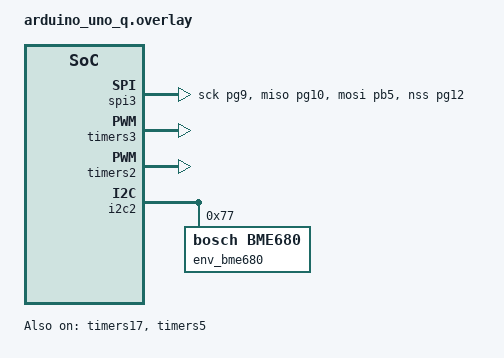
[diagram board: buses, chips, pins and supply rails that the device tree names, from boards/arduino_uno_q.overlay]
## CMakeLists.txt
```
# Copyright (c) 2026 Jim Wyatt
# SPDX-License-Identifier: MIT
cmake_minimum_required(VERSION 3.20.0)
# The BME680's I2C address, into the overlay's preprocessor (see `app env` in
# boards/arduino_uno_q.overlay): 0x77 unless the build says otherwise, with
#   mcu/zbuild.sh -- -DUNOQ_BME680_ADDR=0x76
# A cache variable, so it holds for that build directory until a pristine one.
set(UNOQ_BME680_ADDR 0x77 CACHE STRING "I2C address of the BME680 on i2c2: 0x76 or 0x77")
set_property(CACHE UNOQ_BME680_ADDR PROPERTY STRINGS 0x76 0x77)
if(NOT UNOQ_BME680_ADDR MATCHES "^0x7[67]$")
  message(FATAL_ERROR "UNOQ_BME680_ADDR is ${UNOQ_BME680_ADDR}: a BME680 answers only on 0x76 or 0x77")
endif()
list(APPEND DTS_EXTRA_CPPFLAGS -DUNOQ_BME680_ADDR=${UNOQ_BME680_ADDR})
find_package(Zephyr REQUIRED HINTS $ENV{ZEPHYR_BASE})
project(hybrid_link)
target_sources(app PRIVATE src/main.c src/matrix.c src/bars.c src/status_leds.c src/templog.c
		   src/guard.c src/spi_link.c src/spi_proto.c src/jitter.c src/scope.c src/scope_hw.c)
# `app env`: the pure half is also compiled by mcu/tests/env/.
target_sources(app PRIVATE src/env.c src/env_sensor.c)
# app_proto.h holds the MPU <-> MCU contract, shared with mcu/tests/, and
# bars.c, templog.c, spi_proto.c, jitter.c and scope.c are compiled a second time by
# mcu/tests/ to run on the host.
target_include_directories(app PRIVATE include)
```

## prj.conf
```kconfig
# Copyright (c) 2026 Jim Wyatt
# SPDX-License-Identifier: MIT
# --- MPU <-> MCU link -------------------------------------------------------
CONFIG_GPIO=y
CONFIG_SERIAL=y
CONFIG_CONSOLE=y
CONFIG_UART_CONSOLE=y
CONFIG_PRINTK=y

# --- Interactive shell on the same UART the MPU reads (lpuart1) -------------
CONFIG_SHELL=y
CONFIG_SHELL_BACKEND_SERIAL=y
CONFIG_SHELL_PROMPT_UART="unoq:~$ "

# Built-in command sets: poke hardware without rebuilding.
CONFIG_GPIO_SHELL=y
CONFIG_I2C=y
CONFIG_I2C_SHELL=y
CONFIG_DEVICE_SHELL=y
CONFIG_KERNEL_SHELL=y

# --- SMP / MCUmgr over the shell transport ----------------------------------
# One UART serves console + shell + SMP, so SMP is multiplexed over the shell
# rather than claiming its own port.
# MCUMGR_TRANSPORT_SHELL needs these four or it silently disables itself
CONFIG_BASE64=y
CONFIG_CRC=y
CONFIG_NET_BUF=y
CONFIG_ZCBOR=y
CONFIG_MCUMGR=y
CONFIG_MCUMGR_TRANSPORT_SHELL=y
CONFIG_MCUMGR_GRP_OS=y
CONFIG_MCUMGR_GRP_OS_MCUMGR_PARAMS=y
CONFIG_MCUMGR_GRP_OS_TASKSTAT=y
CONFIG_MCUMGR_GRP_STAT=y
CONFIG_STATS=y
CONFIG_STATS_NAMES=y

CONFIG_MAIN_STACK_SIZE=2048

# --- 8x13 LED matrix --------------------------------------------------------
# Charlieplexed on PF0..PF10, refreshed from a TIM17 counter callback at 100kHz.
# See mcu/app/src/matrix.c and boards/arduino_uno_q.overlay.
CONFIG_COUNTER=y

# --- Die temperature: `app temp` --------------------------------------------
# The STM32U585's internal temperature sensor, which Linux has no view of.
# The board file already marks the sensor and adc1 "okay", so this is all it
# takes: SENSOR is the subsystem, and with it on STM32_TEMP defaults to y and
# selects ADC by itself. Both are written out anyway, so that the dependency
# is visible here and a Zephyr that changes a default fails loudly.
CONFIG_SENSOR=y
CONFIG_STM32_TEMP=y
CONFIG_ADC=y
# The board file also enables a Vref and a Vbat sensor, and their drivers
# default to y the moment SENSOR is on. Nothing here reads them.
CONFIG_STM32_VREF=n
CONFIG_STM32_VBAT=n

# --- Persistent storage in storage_partition (128K, previously unused) ------
# Holds one byte: the panel orientation set by `app matrix flip`.
CONFIG_FLASH=y
CONFIG_FLASH_MAP=y
CONFIG_NVS=y
CONFIG_SETTINGS=y
CONFIG_SETTINGS_NVS=y

# --- MCUboot: app becomes a signed image in slot0, updatable over SMP -------
CONFIG_BOOTLOADER_MCUBOOT=y
# The bootloader refuses an image older than the running one (mcu/mcuboot.conf).
# Said here too so the app reports it: SMP's bootloader info says what MCUboot
# will and will not do, and a tool reading it should not have to guess.
CONFIG_MCUBOOT_BOOTLOADER_NO_DOWNGRADE=y
CONFIG_MCUMGR_GRP_IMG=y
CONFIG_IMG_MANAGER=y
CONFIG_STREAM_FLASH=y
CONFIG_IMG_ERASE_PROGRESSIVELY=y
CONFIG_MCUMGR_GRP_OS_BOOTLOADER_INFO=y

# --- The MCU's own watchdog: guard.c, `app reset`, `app hang yes` -----------
# The IWDG, which the board file already marks "okay" and aliases watchdog0.
# With WATCHDOG on, IWDG_STM32 defaults to y. HWINFO is how the reset cause is
# read: RCC's reset flags, through hwinfo_stm32.c. See mcu/app/include/guard.h.
CONFIG_WATCHDOG=y
CONFIG_HWINFO=y

# --- The SPI link to Linux: spi_link.c, spi_proto.h -------------------------
# spi3 is the MCU's end of /dev/spidev0.0, and Linux is the master, so the MCU
# is a slave. The board file already marks spi3 "okay" (the overlay says so
# again, where it can be read). SPI_SLAVE is what lets the driver take
# SPI_OP_MODE_SLAVE; SPI_STM32_INTERRUPT is what lets a slave wait for Linux
# without spinning: polled, the transfer would busy-loop until the master
# clocked, and the shell, the panel and the watchdog's feeder would starve.
CONFIG_SPI=y
CONFIG_SPI_SLAVE=y
CONFIG_SPI_STM32_INTERRUPT=y

# --- Jitter: `app jitter`, jitter.c, jitter.h -------------------------------
# PWM out on D3 from TIM3, the same square wave captured on D2 by TIM2, and
# TIM5 as the 1 MHz clock the ticks are timestamped by (through COUNTER,
# already on for the panel). See the overlay for the timers and pins.
# PWM_CAPTURE is what gives the STM32 PWM driver its input-capture half, and
# with it the timer interrupt the period callback runs from.
CONFIG_PWM=y
CONFIG_PWM_CAPTURE=y

# --- The scope: `app scope`, scope.c, scope_hw.c, scope.h -------------------
# DAC1 and ADC1 on PA4 (A0), paced by TIM6 and TIM7, with the data moved by
# GPDMA1, which the board file already marks "okay"; DMA is what builds its
# driver. The DAC, the timers and the ADC's trigger are set with STM32Cube LL
# from scope_hw.c, because Zephyr's DAC and ADC drivers have no timer trigger
# or DMA burst. CONFIG_DAC stays off: its driver would claim DAC1 too.
CONFIG_DMA=y

# --- The air around the board: `app env`, env.c, env_sensor.c ---------------
# A BME680 breakout on the header's I2C (i2c2), declared in the overlay. With
# a bosch,bme680 node enabled BME680 defaults to y and selects I2C (already on
# above, for the shell); SENSOR is already on for the die temperature. Both
# are written out for the same reason as STM32_TEMP. The firmware boots and
# builds the same with no breakout fitted: the driver's init fails, and
# `app env` reports that instead of a reading.
CONFIG_SENSOR=y
CONFIG_BME680=y
```

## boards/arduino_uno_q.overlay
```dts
/*
 * Copyright (c) 2026 Jim Wyatt
 * SPDX-License-Identifier: MIT
 *
 * Route the Zephyr console to lpuart1 (PG7/PG8, with RTS/CTS) - the UART
 * physically wired to the Linux MPU, where it appears as /dev/ttyHS1.
 * usart1 (PB6/PB7) is the Arduino-header UART and is NOT the MPU link.
 */
/ {
	chosen {
		zephyr,console = &lpuart1;
		zephyr,shell-uart = &lpuart1;
	};
};

/*
 * The 8x13 LED panel. Upstream Zephyr's board does not describe it at all -
 * the wiring is only recorded in Arduino's core - so both halves are declared
 * here: the port the 104 LEDs are charlieplexed across, and the timer that
 * paces the refresh. See mcu/app/src/matrix.c.
 */

/* PF0..PF10 carry the panel. Enabling the port is what turns its clock on;
 * matrix.c then drives MODER/BSRR directly, because the pins have to change
 * direction every 10us. Nothing else in this build may claim PF0..PF10.
 */
&gpiof {
	status = "okay";
};

/* TIM17 is otherwise unused here, and is the timer Arduino's own firmware
 * picks for this job. Prescaler 4 divides the timer clock by 5, which leaves
 * counter_us_to_ticks() plenty of resolution for a 10us slot.
 */
&timers17 {
	status = "okay";
	st,prescaler = <4>;

	counter_matrix: counter {
		status = "okay";
	};
};

/*
 * The die temperature sensor behind `app temp` needs nothing here: Zephyr's
 * board file already sets die_temp and the ADC it is read through (adc1,
 * internal channel 19) to "okay". What it also enables is adc4, for a Vbat
 * sensor this firmware does not build (CONFIG_STM32_VBAT=n in prj.conf).
 *
 * Turning the ADC driver on brings up every enabled ADC at boot, and on this
 * chip that bring-up waits for the converter's regulator in a loop with no
 * timeout. One such wait is the price of the temperature; a second, for a
 * converter nothing reads, is only another way for the board not to boot.
 */
&adc4 {
	status = "disabled";
};

/*
 * The SPI link to Linux. spi3's four pins - SCK PG9, MISO PG10, MOSI PB5, NSS
 * PG12 - are wired to the MPU's spi@4a94000, which Linux shows as
 * /dev/spidev0.0; docs/reference/hardware.md has the experiment that found
 * them. Linux is the master. The board file already enables spi3 with exactly
 * this pinctrl; it is restated here because spi_link.c depends on it, and on
 * NSS being the hardware pin rather than a GPIO chip select.
 */
&spi3 {
	status = "okay";
	pinctrl-0 = <&spi3_sck_pg9 &spi3_miso_pg10 &spi3_mosi_pb5 &spi3_nss_pg12>;
	pinctrl-names = "default";
};

/*
 * `app jitter` (main.c, jitter.h): three general-purpose timers, none of
 * which the board file or anything above enables. All three count the APB1
 * timer clock, 160 MHz (sysclk 160 MHz, APB1 prescaler 1), divided by
 * st,prescaler + 1.
 *
 * Header pins, from Zephyr's arduino_r3_connector.dtsi: D2 is PB3 and D3 is
 * PB0. Neither is in the panel's PF0..PF10, spi3's PG9/PG10/PB5/PG12,
 * lpuart1's PG5..PG8, usart1's PB6/PB7, i2c2's PB10/PB11, spi2's
 * PB13/PB14/PB15/PB9, or the status LEDs' PH10..PH15. PB3 comes out of reset
 * as JTDO/TRACESWO; debugging here is SWD on PA13/PA14, which does not use
 * it.
 */

/* TIM5: a free-running 32-bit counter at 1 MHz, so one count is one
 * microsecond and the counter wraps every 71.6 minutes. The tick timestamps.
 * The kernel's own cycle counter is LPTIM1 on the 32768 Hz crystal (the
 * board's stm32_lp_tick_source), about 30 us a count. */
&timers5 {
	status = "okay";
	st,prescaler = <159>;

	counter_jitter: counter {
		status = "okay";
	};
};

/* TIM3: PWM out on D3 (PB0, TIM3_CH3). TIM3 is 16-bit, and counting at 1 MHz
 * its longest period is 65535 us, which is APP_JITTER_PWM_HZ_MIN's reason. */
&timers3 {
	status = "okay";
	st,prescaler = <159>;

	pwm_jitter_out: pwm {
		status = "okay";
		pinctrl-0 = <&tim3_ch3_pb0>;
		pinctrl-names = "default";
	};
};

/* TIM2: PWM capture in on D2 (PB3, TIM2_CH2), at the full 160 MHz so a
 * period is measured to 6.25 ns. TIM2 is 32-bit, so a period up to 26.8 s
 * fits. Capture on channel 2 uses the slave-mode controller to reset the
 * counter on each rising edge, and channel 1 as its pair, internally: only
 * PB3 is taken. */
&timers2 {
	status = "okay";
	st,prescaler = <0>;

	pwm_jitter_in: pwm {
		status = "okay";
		pinctrl-0 = <&tim2_ch2_pb3>;
		pinctrl-names = "default";
	};
};

/* Without the jumper, D2 is held low rather than left to float, so the
 * capture sees no edges and the pwm histogram stays empty instead of filling
 * with noise. */
&tim2_ch2_pb3 {
	bias-pull-down;
};

/*
 * `app scope` (scope.h, scope_hw.c): a wave out of A0 and sampled back in.
 * Nothing here changes for it; this says what it takes, and why the board
 * file already has it.
 *
 *   PA4   header A0, and both dac1_out1_pa4 (&dac1's pinctrl) and
 *         adc1_in9_pa4 (&adc1's). The ADC driver puts it in analog mode at
 *         boot, which is also what the DAC needs. Not in the panel's
 *         PF0..PF10, spi3's PG9/PG10/PB5/PG12, lpuart1's PG5..PG8, usart1's
 *         PB6/PB7, i2c2's PB10/PB11, spi2's PB13/PB14/PB15/PB9, the status
 *         LEDs' PH10..PH15, or jitter's PB0/PB3.
 *   dac1  "okay" in the board file. CONFIG_DAC is off, so no driver binds
 *         it, and scope_hw.c drives it with LL.
 *   adc1  shared with the die temperature, which the ADC driver reads; a
 *         capture borrows it under adc1_lock (see scope_hw.c).
 *   TIM6  the ADC's trigger; TIM7 the DAC's. Basic timers, left "disabled"
 *         here because no Zephyr driver is to have them: scope_hw.c turns on
 *         their clocks from their nodes' `clocks` and programs them with LL.
 *         Not TIM2, TIM3 or TIM5 (jitter) or TIM17 (the panel).
 *   gpdma1  "okay" in the board file; channels 14 (ADC) and 15 (DAC).
 */

/*
 * `app env` (env.h, env_sensor.c): a BME680 breakout on the header's I2C,
 * i2c2, which Zephyr's board file already enables at 400 kHz on SCL PB10 and
 * SDA PB11 - the two pins past AREF, also labeled SCL and SDA on the board.
 *
 * The part answers on 0x76 with its SDO pin low and 0x77 with it high. This
 * declares 0x77, the address Adafruit's and SparkFun's breakouts ship at and
 * Bosch's and Adafruit's libraries default to. Pimoroni's, and many of the
 * unbranded boards, tie SDO low instead and answer on 0x76; several move with
 * a solder jumper. `i2c scan i2c@40005800` in the MCU's shell says which.
 *
 * For 0x76, build with the CMake variable mcu/app/CMakeLists.txt passes in
 * here, which sticks in that build directory until a pristine build:
 *
 *   mcu/zbuild.sh -- -DUNOQ_BME680_ADDR=0x76
 *
 * Anything but the two addresses the part has stops the build. With no
 * breakout fitted the driver's init fails, the device is not ready, and
 * `app env` says so; nothing else changes.
 */
#ifndef UNOQ_BME680_ADDR
#define UNOQ_BME680_ADDR 0x77
#endif

&i2c2 {
#if UNOQ_BME680_ADDR == 0x76
	env_bme680: bme680@76 {
		compatible = "bosch,bme680";
		reg = <0x76>;
	};
#elif UNOQ_BME680_ADDR == 0x77
	env_bme680: bme680@77 {
		compatible = "bosch,bme680";
		reg = <0x77>;
	};
#else
#error "UNOQ_BME680_ADDR: a BME680 answers only on 0x76 or 0x77"
#endif
};
```

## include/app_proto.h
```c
/*
 * Copyright (c) 2026 Jim Wyatt
 * SPDX-License-Identifier: MIT
 *
 * The MPU <-> MCU contract, in one place.
 *
 * Everything here is consumed by parties that must agree:
 *
 *   - mcu/app/src/main.c        produces the status and temp lines, validates bars
 *   - mcu/app/src/templog.c     keeps the temperature log main.c prints
 *   - mcu/app/include/guard.h   names the reset causes APP_RESET_FMT carries
 *   - mcu/tests/templog/        tests the log's sequence, gap and batch rules
 *   - mcu/app/src/env.c         formats the `app env` line
 *   - mcu/tests/env/            tests it, with the driver's values faked
 *   - mcu/app/src/jitter.c      keeps the jitter histograms `app jitter` prints
 *   - mcu/tests/jitter/         tests their bins, clamp and tick bookkeeping
 *   - mcu/app/src/scope_hw.c    runs `app scope`, the DAC and ADC on PA4
 *   - mcu/tests/scope/          tests its tables, timer division and bursts
 *   - mcu/tests/link_protocol/  tests these definitions directly
 *   - python/unoq/mcu.py        parses those lines, calls `app bars`
 *
 * The definitions used to be duplicated: main.c had the range check and the
 * format string, and the test had its own copy of both. A copy cannot fail
 * when the original changes, so the test proved nothing about the firmware.
 * Include this from both instead.
 *
 * A change here is a protocol change - update unoq/mcu.py and its tests too.
 */
#ifndef APP_PROTO_H
#define APP_PROTO_H

#include <errno.h>
#include <limits.h>
#include <stdbool.h>
#include <stdint.h>
#include <stdlib.h>

/* The `app status` line, parsed by unoq.MCU.status() into a dict.
 *
 * Format is "key=value" pairs separated by single spaces. The parser splits on
 * whitespace and then on the first '=', so a value must never contain either.
 */
#define APP_STATUS_FMT    "uptime_ms=%lld flip=%d sweeps=%u"
#define APP_STATUS_FIELDS 3

/*
 * What a rejected command starts with. Shared with unoq.MCU.cmd(), which raises
 * on any line that begins with it.
 *
 * shell_error() does not add this. It only colors the line red, and the color
 * is exactly what the Python side strips before it looks. So for as long as the
 * handlers printed a bare message, a command the firmware refused came back to
 * Python looking like a reply, and nothing was raised.
 */
#define APP_ERR "Error: "

/* Every number a command takes is read with this, and a false return is an
 * APP_ERR reply.
 *
 * It was atoi(), which turns anything into a number: `app bars abc` drew an
 * idle core, and `app matrix px x y z` lit the corner pixel and said "ok". A
 * typo at the prompt and a corrupted line on the wire both looked like a valid
 * command. The whole argument has to be one decimal integer that fits an int:
 * nothing before it but what strtol allows, nothing after it at all.
 */
static inline bool app_parse_int(const char *s, int *out)
{
	char *end;
	long v;

	if (s == NULL || *s == '\0') {
		return false;
	}
	errno = 0;
	v = strtol(s, &end, 10);
	if (end == s || *end != '\0' || errno == ERANGE || v < INT_MIN || v > INT_MAX) {
		return false;
	}
	*out = (int)v;
	return true;
}

/* The `app temp` line, parsed by unoq.MCU.die_temp() into degrees Celsius.
 *
 * The STM32U585's internal die temperature sensor, which Linux cannot see at
 * all: its thermal zones are the QRB2210's. It is a command of its own rather
 * than a fourth field of `app status` because reading it is a real ADC
 * conversion that can fail, and status must never fail - and because the status
 * format is pinned by tests and quoted throughout the documentation.
 *
 * The unit is millidegrees Celsius as a signed integer, the same unit Linux
 * uses in /sys/class/thermal, so both processors' temperatures compare without
 * a conversion. An integer because this build has no floating-point printf
 * (CONFIG_CBPRINTF_FP_SUPPORT is off, and costs flash to turn on) and because
 * "%d" is unambiguous to parse where a locale-shaped decimal is not. Signed
 * because the part is rated to -40 C.
 *
 * On failure the firmware prints APP_TEMP_ERR_FMT instead, with the negative
 * errno it got: -19 (ENODEV) when the sensor or the ADC behind it never came
 * up at boot, anything else from the conversion itself. The two lines share no
 * key, so a failure can never be read as a temperature.
 */
#define APP_TEMP_FMT     "temp_mc=%d"
#define APP_TEMP_ERR_FMT "temp_err=%d"

/* --- the temperature log -------------------------------------------------
 *
 * `app temp` is a reading taken when Linux asks. The log is the other way
 * round: the MCU samples on its own timer, whether or not anyone is listening,
 * and keeps the last APP_TEMPLOG_SIZE samples for Linux to collect later. See
 * mcu/app/src/templog.c, and MCU.temp_log() in python/unoq/mcu.py.
 *
 * Every sample gets the next sequence number, starting at 1, and the MCU's
 * own uptime when it was taken. The sequence is what makes a loss visible: a
 * reader that asks for everything after the last number it saw either gets the
 * next number, or is told which numbers it will never get.
 *
 * 600 samples is ten minutes at 1 Hz, so a reader stopped for a restart or an
 * upgrade comes back to an unbroken record. Each sample is 16 bytes of RAM, so
 * the ring is 9600 bytes of the chip's 786 KB.
 */
#define APP_TEMPLOG_SIZE      600
#define APP_TEMPLOG_PERIOD_MS 1000

/* The most samples one `app temp log` prints. The whole ring at once would be
 * 600 lines, about 20 KB and two seconds of the 115200 link in one reply, and
 * a reader's timeout has to allow for the longest reply it can get. 32 lines
 * is about a tenth of a second. APP_TEMPLOG_END_FMT says how many are left.
 */
#define APP_TEMPLOG_BATCH 32

/* `app temp log [since]` prints, in this order:
 *
 *   APP_TEMPLOG_GAP_FMT  once, only if samples after `since` were overwritten
 *                        before anyone asked for them: the first and the last
 *                        sequence number lost, inclusive
 *   APP_TEMPLOG_FMT      one per sample, oldest first, at most
 *                        APP_TEMPLOG_BATCH of them
 *   APP_TEMPLOG_ERR_FMT  in place of a sample whose sensor read failed. It
 *                        keeps its sequence number, so a failed read is never
 *                        mistaken for a lost one, nor a lost one for a failure
 *   APP_TEMPLOG_END_FMT  always, last: the newest sequence number held, and
 *                        how many samples newer than this batch are waiting
 *
 * With no `since` it starts at the oldest sample held and reports no gap. With
 * one, it starts after it - so `since` 0 means "from boot", and does report
 * whatever was lost since boot. A `since` beyond the newest sample is refused
 * with APP_ERR: the MCU has restarted since that number was read, and its
 * sequence has started again.
 *
 * Sequence numbers are unsigned 32-bit; at 1 Hz they wrap after 136 years.
 * The uptime is k_uptime_get(), signed 64-bit milliseconds.
 */
#define APP_TEMPLOG_FMT     "seq=%u ms=%lld temp_mc=%d"
#define APP_TEMPLOG_ERR_FMT "seq=%u ms=%lld temp_err=%d"
#define APP_TEMPLOG_GAP_FMT "gap first=%u last=%u"
#define APP_TEMPLOG_END_FMT "end head=%u more=%u"

/* `app temp log stat`: the newest sequence number (0 before the first
 * sample), how many samples are held, the ring's size, how many were
 * overwritten (whether anyone had read them or not), and the sampling period.
 * head - count is always dropped; it is printed so nobody has to know that.
 */
#define APP_TEMPLOG_STAT_FMT "head=%u count=%u size=%u dropped=%u period_ms=%u"

/* --- the air around the board: `app env` ----------------------------------
 *
 * A BME680 breakout on the header's I2C (i2c2: SDA PB11, SCL PB10), read with
 * Zephyr's driver - see mcu/app/include/env.h. Parsed by unoq.MCU.env() into
 * an EnvReading, and served to a phone over Bluetooth by unoq-ble-sensor.
 *
 * One line, all four channels from the same measurement, in integers for the
 * same reasons as APP_TEMP_FMT: millidegrees Celsius, thousandths of a percent
 * of relative humidity, pascals, and the gas sensor's resistance in ohms. Each
 * is the driver's own resolution or finer. Humidity is capped by the driver
 * at APP_ENV_HUMIDITY_MPCT_MAX.
 *
 * The keys are not APP_TEMP_FMT's line on its own, and the regexes on both
 * sides are anchored, so neither reply can pass for the other.
 *
 * With no sensor, or a read that fails, the reply is APP_ERR followed by
 * APP_ENV_ERR_FMT with the negative errno: -19 (ENODEV) when no BME680
 * answered at its address at boot, anything else from the read itself.
 * The firmware boots, and every other command works, either way.
 */
#define APP_ENV_FMT               "temp_mc=%d humidity_mpct=%u pressure_pa=%u gas_ohm=%u"
#define APP_ENV_ERR_FMT           "env_err=%d"
#define APP_ENV_HUMIDITY_MPCT_MAX 100000

/* --- why the MCU last reset ----------------------------------------------
 *
 * `app reset` prints this one line, parsed by unoq.MCU.reset_cause() into a
 * list of names. The value is the causes RCC recorded for the reset that
 * started this boot, comma-separated, most telling first: "watchdog,pin",
 * "software,pin", "brownout,pin". The names, their order and why "pin" is
 * nearly always there are in mcu/app/include/guard.h. "none" means no flag
 * was set; "unknown" means a flag guard.h has no name for, or that the flags
 * could not be read at all.
 *
 * One token with no spaces and no '=', so it reads the same way the status
 * line's values do. The cause is read once at boot and cleared in the
 * hardware then, so it describes this boot until the next reset, however
 * many times it is asked.
 */
#define APP_RESET_FMT "reset=%s"

/* `app hang yes` stalls the MCU on purpose, to show the watchdog firing: it
 * locks the scheduler and spins, so the beat that feeds the watchdog never
 * runs again. The word "yes" is required, because the command takes the
 * shell and the panel down with it. This is the one line it prints first. */
#define APP_HANG_FMT "hanging: the watchdog resets the MCU in %d ms"

/* --- jitter: the MCU times what Linux schedules ----------------------------
 *
 * Two histograms of the same shape, kept side by side (see jitter.h):
 *
 *   tick  Linux sends `app jitter tick` on a fixed schedule. Each arrival is
 *         timestamped on TIM5, a free-running 32-bit counter at 1 MHz, and
 *         the interval since the previous one is compared with the period
 *         `app jitter arm` was given.
 *   pwm   TIM3 drives a square wave out of D3 (PB0, TIM3_CH3), and with a
 *         jumper from D3 to D2, TIM2 captures its period on D2 (PB3,
 *         TIM2_CH2) in hardware. The same comparison, for timing that never
 *         goes through software.
 *
 * The commands, and the line each answers with:
 *
 *   app jitter arm <period_us>   APP_JITTER_ARM_FMT. Clears both histograms.
 *   app jitter tick              nothing on success: Linux does not wait for
 *                                a reply (MCU.jitter_tick())
 *   app jitter pwm <hz>          APP_JITTER_PWM_FMT, with the period the timer
 *                                really runs at. Clears the pwm histogram.
 *   app jitter stat              APP_JITTER_FMT twice: src=tick, then src=pwm
 *   app jitter off               APP_JITTER_OFF_FMT. Stops the PWM, the
 *                                capture and the ticks; the histograms stay,
 *                                to be read
 *
 * A deviation is the measured interval minus the expected period, in
 * nanoseconds: negative is early, positive late. A tick's is whole
 * microseconds, the counter's resolution; a captured period's is 6.25 ns, one
 * cycle of the 160 MHz timer clock. Each is clamped to the range of an int32
 * (about +-2.1 s), far past the last bin anyway.
 *
 * The bins are by size and sign. APP_JITTER_EDGES_US are the edges in
 * microseconds, and a deviation d goes in the bin of the first edge E with
 * |d| <= E, on its own side of zero; the middle bin, |d| <= 50, has both
 * signs. Past the last edge is one more bin each side. The APP_JITTER_BINS
 * counts run from the earliest to the latest, in microseconds:
 *
 *   0: d < -5000           5: -200 <= d < -100     10: 200 < d <= 500
 *   1: -5000 <= d < -2000  6: -100 <= d < -50      11: 500 < d <= 1000
 *   2: -2000 <= d < -1000  7: -50 <= d <= 50       12: 1000 < d <= 2000
 *   3: -1000 <= d < -500   8: 50 < d <= 100        13: 2000 < d <= 5000
 *   4: -500 <= d < -200    9: 100 < d <= 200       14: 5000 < d
 */
#define APP_JITTER_EDGES_US {50, 100, 200, 500, 1000, 2000, 5000}
#define APP_JITTER_EDGES    7
#define APP_JITTER_BINS     (2 * APP_JITTER_EDGES + 1)

/* What `app jitter arm` and `app jitter pwm` accept. The period floor is a
 * shell command's own cost: below it, what is measured is the shell. The PWM
 * range is TIM3's: a 16-bit timer counting at 1 MHz holds a period of at most
 * 65535 us, just over 15 Hz; and every captured period is an interrupt, so the
 * top is kept well under the panel's 100 kHz refresh.
 */
#define APP_JITTER_PERIOD_US_MIN 100
#define APP_JITTER_PERIOD_US_MAX 10000000
#define APP_JITTER_PWM_HZ_MIN    16
#define APP_JITTER_PWM_HZ_MAX    10000

/* One histogram. `period_us` is what each interval is compared with, 0 when
 * there has been none (never armed, or the PWM never started); it stays
 * through `app jitter off`. `n` counts intervals, one fewer than the ticks
 * that made them. With n = 0, min, max and mean are 0. The mean is the sum
 * over n, rounded toward zero. `bins` is the APP_JITTER_BINS counts,
 * comma-separated, in the order above. */
#define APP_JITTER_FMT      "jitter src=%s period_us=%u n=%u min_ns=%d max_ns=%d mean_ns=%d bins=%s"
#define APP_JITTER_SRC_TICK "tick"
#define APP_JITTER_SRC_PWM  "pwm"

#define APP_JITTER_ARM_FMT "ok jitter arm period_us=%u"
#define APP_JITTER_PWM_FMT "ok jitter pwm hz=%u period_us=%u"
#define APP_JITTER_OFF_FMT "ok jitter off"

/* --- the scope: the DAC and the ADC share a pin ----------------------------
 *
 * PA4, header A0, is both dac1 output 1 and adc1 channel 9. The DAC plays a
 * waveform table out of it, paced by TIM7 and fed by DMA; the ADC samples the
 * same pin in bursts, paced by TIM6 and emptied by DMA into RAM. So the MCU
 * watches its own output with no wire. The samples go up the SPI link
 * (SPI_PROTO_SCOPE in spi_proto.h), not this shell: a whole burst is 8 KB,
 * most of a second of the 115200 line. See scope.h.
 *
 * The commands, and the line each answers with:
 *
 *   app scope gen <wave> <hz>   APP_SCOPE_GEN_FMT. wave is APP_SCOPE_WAVE_SINE
 *                               or APP_SCOPE_WAVE_TRIANGLE; hz the waveform's
 *                               frequency. Replaces whatever was playing.
 *   app scope capture <n> <rate_hz>
 *                               APP_SCOPE_CAPTURE_FMT, once the n samples are
 *                               in: it blocks for n / rate_hz seconds
 *   app scope stat              APP_SCOPE_STAT_FMT
 *   app scope off               APP_SCOPE_OFF_FMT. Stops the DAC; the last
 *                               capture stays, to be read
 *
 * The rates the timers really run at are not always the ones asked for: a
 * timer divides its 160 MHz clock by whole numbers. Every "actual" rate is
 * printed in hertz with three decimals, as %u.%03u, because this build has no
 * floating-point printf.
 *
 * The table is APP_SCOPE_POINTS 12-bit DAC codes around APP_SCOPE_DAC_MID,
 * APP_SCOPE_DAC_AMPLITUDE either side: about 0.33 V to 2.97 V with a 3.3 V
 * reference, kept off the rails, where the output buffer is not linear. The
 * ADC is 14-bit, so a sample reads about four times the DAC code behind it.
 */
#define APP_SCOPE_POINTS        64
#define APP_SCOPE_DAC_MID       2048
#define APP_SCOPE_DAC_AMPLITUDE 1638
#define APP_SCOPE_DAC_MAX       4095
#define APP_SCOPE_ADC_MAX       16383

/* What `app scope gen` takes. The DAC is updated APP_SCOPE_POINTS times a
 * period, so the top is a 640 kHz update rate, under the DAC's rated
 * 1 Msps with its output buffer on. */
#define APP_SCOPE_WAVE_HZ_MIN 1
#define APP_SCOPE_WAVE_HZ_MAX 10000

/* What `app scope capture` takes. The burst buffer holds APP_SCOPE_N_MAX
 * samples, 8 KB. The top rate leaves room under the ADC's own conversion
 * time: 68 cycles of sampling and about 17 of conversion at 14 bits, on a
 * 40 MHz ADC clock, is about 2 us. And a capture borrows adc1 from the die
 * temperature for its whole length, so its length is held to
 * APP_SCOPE_BURST_MS_MAX: a temperature sample is late by at most that much,
 * never lost. */
#define APP_SCOPE_N_MIN        16
#define APP_SCOPE_N_MAX        4096
#define APP_SCOPE_RATE_HZ_MIN  100
#define APP_SCOPE_RATE_HZ_MAX  250000
#define APP_SCOPE_BURST_MS_MAX 500

#define APP_SCOPE_WAVE_OFF      "off"
#define APP_SCOPE_WAVE_SINE     "sine"
#define APP_SCOPE_WAVE_TRIANGLE "triangle"

static inline bool app_scope_wave_hz_valid(int hz)
{
	return hz >= APP_SCOPE_WAVE_HZ_MIN && hz <= APP_SCOPE_WAVE_HZ_MAX;
}

/* n samples at rate_hz: each in range, and the burst no longer than
 * APP_SCOPE_BURST_MS_MAX. */
static inline bool app_scope_capture_valid(int n, int rate_hz)
{
	return n >= APP_SCOPE_N_MIN && n <= APP_SCOPE_N_MAX && rate_hz >= APP_SCOPE_RATE_HZ_MIN &&
	       rate_hz <= APP_SCOPE_RATE_HZ_MAX &&
	       (int64_t)n * 1000 <= (int64_t)APP_SCOPE_BURST_MS_MAX * rate_hz;
}

/* `app scope gen`: the wave, the frequency asked for, and the one TIM7 gives.
 *
 * `app scope capture`: the capture's id (1, 2, ... since boot, and what the
 * SPI service is asked for), its samples, the rate TIM6 gives, and the
 * smallest, largest and mean sample, so the shell alone shows whether it
 * worked.
 *
 * `app scope stat`: the wave playing and the frequency TIM7 gives it
 * (APP_SCOPE_WAVE_OFF at 0.000 if none), the capture held (id 0, n 0, rate
 * 0.000 if none can be read), whether a capture is running, and how many
 * have failed since boot. */
#define APP_SCOPE_GEN_FMT     "ok scope gen wave=%s hz=%u actual_hz=%u.%03u"
#define APP_SCOPE_CAPTURE_FMT "ok scope capture id=%u n=%u rate_hz=%u.%03u min=%u max=%u mean=%u"
#define APP_SCOPE_STAT_FMT "scope wave=%s hz=%u.%03u id=%u n=%u rate_hz=%u.%03u busy=%u failed=%u"
#define APP_SCOPE_OFF_FMT  "ok scope off"

/* --- LED matrix ----------------------------------------------------------
 *
 * 104 blue LEDs, charlieplexed on PF0..PF10 and refreshed by a timer ISR - see
 * mcu/app/src/matrix.c. Geometry is fixed by the panel, so it lives here where
 * both sides and the tests can see it.
 *
 * LED index i is row-major: row = i / APP_MATRIX_COLS, col = i % APP_MATRIX_COLS.
 * Row 0 / column 0 is the corner nearest the USB-C connectors; `app matrix px`
 * exists to confirm that on a board rather than trusting this comment.
 */
#define APP_MATRIX_ROWS 8
#define APP_MATRIX_COLS 13
#define APP_MATRIX_LEDS (APP_MATRIX_ROWS * APP_MATRIX_COLS)

/* 3-bit grayscale: 0 is off, APP_MATRIX_MAX_LEVEL is fully on. */
#define APP_MATRIX_MAX_LEVEL 7

/* Refresh sweeps per second while the panel is on - one sweep per pass over
 * all 104 LEDs, at the 10us slot matrix.c programs. `app status` reports the
 * running count, and this is what to expect it to climb by each second: it is
 * the only evidence from the far end of a serial cable that the panel is
 * really being driven. See matrix.h. */
#define APP_MATRIX_SWEEPS_PER_S 962

static inline bool app_matrix_level_valid(int level)
{
	return level >= 0 && level <= APP_MATRIX_MAX_LEVEL;
}

static inline bool app_matrix_pixel_valid(int row, int col)
{
	return row >= 0 && row < APP_MATRIX_ROWS && col >= 0 && col < APP_MATRIX_COLS;
}

/* --- a whole frame -------------------------------------------------------
 *
 * `app matrix frame <r0> <r1> ... <r7>` draws a whole picture in one command:
 * eight words, one per row from row 0, each exactly APP_MATRIX_COLS characters
 * and each character a level '0'..'7'. A heart, row by row:
 *
 *   app matrix frame 0000000000000 0007700077000 0077770777700 0077777777700
 *                    0007777777000 0000777770000 0000077700000 0000007000000
 *
 * Digits rather than hex or a packed encoding so that the command stays one a
 * person can type and read, the same reason `app bars` takes whole percent.
 *
 * It fits the shell's limits with room to spare: the line is 17 + 8 * 14 = 129
 * bytes against CONFIG_SHELL_CMD_BUFF_SIZE (256 by default), it is 11 words
 * against CONFIG_SHELL_ARGC_MAX (20), and it arrives into a 256-byte serial
 * receive ring. python/tests/test_contract.py fails if prj.conf ever sets
 * either of the first two below what this needs.
 *
 * Every row is checked before any pixel changes, so a bad row leaves the panel
 * as it was and the reply is an APP_ERR line. On success the reply is
 * APP_MATRIX_FRAME_FMT with the number of LEDs lit (level above 0), which
 * unoq.MCU.matrix_frame() compares with what it sent.
 */
#define APP_MATRIX_FRAME_FMT "ok frame lit=%d"

/* One row of `app matrix frame`: exactly APP_MATRIX_COLS level digits. A short
 * row stops at its terminator, which is not a digit, so this never reads past
 * the end of the string it was given. */
static inline bool app_matrix_row_valid(const char *s)
{
	if (s == NULL) {
		return false;
	}
	for (int i = 0; i < APP_MATRIX_COLS; i++) {
		if (s[i] < '0' || s[i] > '0' + APP_MATRIX_MAX_LEVEL) {
			return false;
		}
	}
	return s[APP_MATRIX_COLS] == '\0';
}

/* Turn APP_MATRIX_ROWS rows, every one already passed by app_matrix_row_valid(),
 * into the APP_MATRIX_LEDS levels matrix_draw() takes. With flip set the frame
 * is turned 180 degrees, LED i to LED APP_MATRIX_LEDS - 1 - i, which is what
 * `app matrix px` does with one pixel. Returns the number of LEDs lit. */
static inline int app_matrix_frame_fill(const char *const *rows, bool flip, uint8_t *out)
{
	int lit = 0;

	for (int row = 0; row < APP_MATRIX_ROWS; row++) {
		for (int col = 0; col < APP_MATRIX_COLS; col++) {
			int idx = row * APP_MATRIX_COLS + col;
			uint8_t level = (uint8_t)(rows[row][col] - '0');

			out[flip ? APP_MATRIX_LEDS - 1 - idx : idx] = level;
			lit += level > 0;
		}
	}
	return lit;
}

/* --- CPU bars -------------------------------------------------------------
 *
 * `app bars <pct> [pct ...]` draws one vertical bar per value. The MPU sends
 * whole percentages - it owns the measurement (python/unoq/cpu.py), the MCU
 * owns the pixels. Keeping the wire format integer percent means the shell
 * command is still something a human can type by hand while debugging.
 *
 * The cap is the panel's, not the host's. Bars are one column wide at minimum
 * and always separated by one blank column, so n bars need 2n-1 columns: 7 is
 * the most that fit. A host with more cores than that has to aggregate.
 */
#define APP_BARS_MAX     ((APP_MATRIX_COLS + 1) / 2)
#define APP_BARS_PCT_MAX 100

static inline bool app_bars_pct_valid(int pct)
{
	return pct >= 0 && pct <= APP_BARS_PCT_MAX;
}

static inline bool app_bars_count_valid(int n)
{
	return n >= 1 && n <= APP_BARS_MAX;
}

/* Settings key (NVS, storage_partition).
 *
 * The panel's orientation is persisted because it is a property of how the
 * board is mounted, not of the running session: whoever fits the board decides
 * it once with `app matrix flip` and it survives power cycles and updates.
 */
#define APP_SETTINGS_FLIP "app/flip"

#endif /* APP_PROTO_H */
```

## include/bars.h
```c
/*
 * Copyright (c) 2026 Jim Wyatt
 * SPDX-License-Identifier: MIT
 *
 * Turning percentages into pixels.
 *
 * Deliberately free of Zephyr and of hardware: this is arithmetic, so it is
 * compiled straight into mcu/tests/bars/ and runs on the host. The half of the
 * feature that cannot be tested that way - charlieplexing PF0..PF10 from a
 * timer ISR - lives in matrix.h and stays as thin as possible.
 */
#ifndef BARS_H
#define BARS_H

#include <stdbool.h>
#include <stdint.h>

#include "app_proto.h"

/* Where n bars sit on the 13-column panel.
 *
 * Bars are uniform width with a one-column gap, and the whole group is
 * centered: leftovers show up as margin, never as one fatter bar.
 */
struct app_bars_layout {
	int width; /* columns per bar, >= 1 */
	int left;  /* blank columns before the first bar */
};

/* Compute the layout for n bars. Returns false (and leaves *out alone) if n is
 * outside 1..APP_BARS_MAX. */
bool app_bars_layout(int n, struct app_bars_layout *out);

/* Which column the i-th bar starts at, given a layout. */
static inline int app_bars_column(const struct app_bars_layout *l, int i)
{
	return l->left + i * (l->width + 1);
}

/*
 * Render n percentages as vertical bars into a APP_MATRIX_LEDS grayscale
 * framebuffer (one byte per LED, 0..APP_MATRIX_MAX_LEVEL), clearing it first.
 *
 * Height uses the grayscale as a vernier: a bar is whole rows at full
 * brightness plus one partial row dimmed in proportion to the remainder. Eight
 * rows would otherwise quantize the reading to 12.5% steps, which for a CPU
 * meter is the difference between "idle" and "a core is busy".
 *
 * rotate180 mirrors the panel for a board viewed from the other side. It is a
 * true 180-degree rotation, so bars grow the other way *and* run right-to-left,
 * which is what you want if you turned the board around rather than the image.
 *
 * pct values outside 0..APP_BARS_PCT_MAX are clamped, and n outside
 * 1..APP_BARS_MAX renders an empty frame - a display that shows nothing is a
 * better failure than one that shows a wrong number confidently.
 */
void app_bars_render(const uint8_t *pct, int n, bool rotate180, uint8_t *frame);

#endif /* BARS_H */
```

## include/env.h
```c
/*
 * Copyright (c) 2026 Jim Wyatt
 * SPDX-License-Identifier: MIT
 *
 * The air around the board: a BME680 on the header's I2C, read by `app env`.
 *
 * The part is Bosch's temperature, humidity, pressure and gas sensor, on a
 * breakout wired to SDA/SCL beside AREF (i2c2, PB11/PB10). Zephyr's driver
 * does the reading and the compensation; what is here is what the firmware
 * makes of the answer.
 *
 * TWO HALVES
 * ----------
 * env.c is pure: four sensor_values in, one reading out, and the reading to
 * the line `app env` prints. No device, no bus, no kernel object, so
 * mcu/tests/env/ runs it on native_sim. Zephyr has no emulator for this part,
 * so that is as close to the sensor as a test gets before there is one.
 *
 * env_sensor.c is the other half: the devices, the read, and the shell
 * command. It is only built into the firmware, and only proven on a board.
 *
 * The line's format is APP_ENV_FMT in app_proto.h.
 */

#ifndef ENV_H
#define ENV_H

#include <stddef.h>
#include <stdint.h>
#include <zephyr/drivers/sensor.h>

struct shell;

/* One reading, in the integer units `app env` prints. The driver's own
 * resolution is 0.01 C, 0.001 %RH, 1 Pa and 1 ohm, so none of these loses
 * anything it has. */
struct env_reading {
	int32_t temp_mc;        /* millidegrees Celsius */
	uint32_t humidity_mpct; /* thousandths of a percent relative humidity */
	uint32_t pressure_pa;   /* pascals */
	uint32_t gas_ohm;       /* the gas sensor's hot plate, in ohms */
};

/* The four channels as the driver hands them back - temperature in degrees,
 * humidity in percent, pressure in kilopascals, gas resistance in ohms - into
 * a reading. Returns 0, or -ERANGE for a value no BME680 can give: negative
 * humidity, pressure or resistance, humidity over 100 %, or a number too big
 * for its field. *out is untouched on failure, so a bad read is never half a
 * reading. */
int env_from_values(const struct sensor_value *temp, const struct sensor_value *humidity,
		    const struct sensor_value *press, const struct sensor_value *gas,
		    struct env_reading *out);

/* The reading as the APP_ENV_FMT line, NUL-terminated, without a newline.
 * Returns its length, or -ENOSPC if buf is too small for all of it (buf then
 * holds nothing). APP_ENV_LINE_MAX always fits. */
int env_format(const struct env_reading *r, char *buf, size_t len);

/* The longest line env_format() can write, with its terminator: every field
 * at its widest. */
#define APP_ENV_LINE_MAX 96

/* `app env` (env_sensor.c). */
int cmd_app_env(const struct shell *sh, size_t argc, char **argv);

/* One boot line saying whether the driver found the part, and at which
 * address, so the console shows it without anybody having to ask. */
void env_report(void);

#endif /* ENV_H */
```

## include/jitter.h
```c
/*
 * Copyright (c) 2026 Jim Wyatt
 * SPDX-License-Identifier: MIT
 *
 * Jitter, measured: the MCU times what Linux schedules.
 *
 * The course says the MCU is there because Linux cannot keep time. This is
 * where that stops being asserted. Linux sends `app jitter tick` on a fixed
 * schedule, and the MCU writes down how far each arrival was from where the
 * schedule said it would be. Beside it, the same record for a square wave
 * the MCU's own timers make and measure, with no software in the path: what
 * "keeping time" looks like when it is done in hardware.
 *
 * TWO HALVES
 * ----------
 * This file is the record: a histogram of deviations (struct jitter_hist)
 * and the bookkeeping that turns arrival timestamps into deviations (struct
 * jitter_ticker). It touches no hardware and no kernel object but a
 * spinlock, so mcu/tests/jitter/ runs it on native_sim with made-up
 * timestamps, wraparound included.
 *
 * The clocks are main.c's: TIM5 as a 1 MHz free-running counter for the
 * tick timestamps, TIM3 for the PWM out on D3 and TIM2's capture on D2. See
 * boards/arduino_uno_q.overlay, and app_proto.h for the shell formats and
 * the bins.
 */

#ifndef JITTER_H
#define JITTER_H

#include <stdbool.h>
#include <stddef.h>
#include <stdint.h>
#include <zephyr/spinlock.h>

#include "app_proto.h"

/* Deviations of measured intervals from an expected period. Added to from an
 * interrupt (the capture callback) as well as from the shell's thread, hence
 * the lock. About 80 bytes. */
struct jitter_hist {
	uint32_t bins[APP_JITTER_BINS];
	uint32_t n;
	int32_t min_ns;
	int32_t max_ns;
	int64_t sum_ns;
	struct k_spinlock lock;
};

/* What jitter_hist_read() copies out: one consistent look at a histogram. */
struct jitter_summary {
	uint32_t bins[APP_JITTER_BINS];
	uint32_t n;
	int32_t min_ns;
	int32_t max_ns;
	int32_t mean_ns; /* sum / n, rounded toward zero; 0 when n is 0 */
};

/* The tick half: arrivals on a microsecond counter, against an armed period. */
struct jitter_ticker {
	struct jitter_hist hist;
	uint32_t period_us; /* what each interval is held to; kept after a stop */
	uint32_t last_us;   /* the previous arrival, if have_last */
	bool armed;
	bool have_last;
};

/** The bin a deviation of `dev_ns` goes in, 0..APP_JITTER_BINS - 1, by the
 *  rule in app_proto.h. */
int jitter_bin(int32_t dev_ns);

/** `ns` clamped to the range of an int32. */
int32_t jitter_clamp_ns(int64_t ns);

/** Empty a histogram, under its lock, so it is safe while the capture
 *  interrupt is adding to it. One that has never been used - static, so
 *  zeroed - is already empty and needs no call. */
void jitter_hist_clear(struct jitter_hist *h);

/** Count one deviation, clamped as jitter_clamp_ns() does. */
void jitter_hist_add(struct jitter_hist *h, int64_t dev_ns);

/** Copy a histogram out, all of it under the lock. */
struct jitter_summary jitter_hist_read(struct jitter_hist *h);

/** Write the bins as `a,b,...` - the bins= value of APP_JITTER_FMT - into
 *  buf. Returns the length written, or -ENOSPC if buf is too small, in which
 *  case buf holds an empty string. JITTER_BINS_STR_MAX is always enough. */
#define JITTER_BINS_STR_MAX (APP_JITTER_BINS * 11)
int jitter_format_bins(const uint32_t *bins, char *buf, size_t cap);

/** Set the expected period, empty the histogram, forget the last arrival and
 *  take ticks: the next one starts a new run rather than closing an interval
 *  that began before the arm. */
void jitter_ticker_arm(struct jitter_ticker *t, uint32_t period_us);

/** Take no more ticks. The histogram and the period stay, to be read; the
 *  next arm clears them. */
void jitter_ticker_stop(struct jitter_ticker *t);

/** One arrival at `now_us` on the free-running counter. The first after
 *  arming only sets the start; each after it adds one deviation. The counter
 *  is 32 bits and wraps every 71.6 minutes; the interval is taken modulo
 *  2^32, so one wrap between two ticks is harmless.
 *  Returns 0, or -EAGAIN if not armed (nothing recorded). */
int jitter_ticker_tick(struct jitter_ticker *t, uint32_t now_us);

#endif /* JITTER_H */
```

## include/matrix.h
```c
/*
 * Copyright (c) 2026 Jim Wyatt
 * SPDX-License-Identifier: MIT
 *
 * The 8x13 LED panel.
 *
 * Everything hardware about the matrix is behind these five calls, so the
 * interesting half of the feature (bars.h) stays testable on the host.
 */
#ifndef MATRIX_H
#define MATRIX_H

#include <stdbool.h>
#include <stdint.h>

/* Claim the GPIO port and the refresh timer. Does not light anything and does
 * not start the ISR - the first matrix_draw() does that. Returns 0, or a
 * negative errno if the devicetree does not give us what we need. */
int matrix_init(void);

/* Show a frame: APP_MATRIX_LEDS bytes, one brightness level (0..
 * APP_MATRIX_MAX_LEVEL) per LED, row-major. The buffer is copied. */
void matrix_draw(const uint8_t *levels);

/* Stop refreshing and release the pins. matrix_draw() restarts it. */
void matrix_off(void);

/*
 * Completed refresh sweeps since boot - one per pass over all 104 LEDs.
 *
 * This is the only way to tell from the far end of a serial cable that the
 * panel is really being refreshed: nothing else about a charlieplexed display
 * is observable without looking at it. A stalled count means the timer never
 * started; a count climbing at ~962/s means the ISR is running to schedule.
 */
uint32_t matrix_sweeps(void);

/*
 * Is the refresh timer meant to be running? True from the first matrix_draw()
 * that starts it until matrix_off(). While it is, matrix_sweeps() should be
 * climbing, and the watchdog (guard.h) is fed only if it is.
 */
bool matrix_running(void);

#endif /* MATRIX_H */
```

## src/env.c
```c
/*
 * Copyright (c) 2026 Jim Wyatt
 * SPDX-License-Identifier: MIT
 *
 * `app env`'s pure half: what the BME680 driver hands back, turned into the
 * line Linux reads. See env.h, and APP_ENV_FMT in app_proto.h.
 *
 * Compiled twice: into the firmware, and by mcu/tests/env/ for native_sim.
 */
#include <errno.h>
#include <stdio.h>

#include "app_proto.h"
#include "env.h"

/* A sensor_value is val1 whole units and val2 millionths, both carrying the
 * sign. Scaled by 1000 - degrees to millidegrees, percent to thousandths of
 * one, kilopascals to pascals - into an int64, so nothing can overflow before
 * the range check. val2 / 1000 truncates toward zero, which drops nothing:
 * the driver never gives these channels a finer resolution than that. */
static int64_t milli(const struct sensor_value *v)
{
	return (int64_t)v->val1 * 1000 + v->val2 / 1000;
}

int env_from_values(const struct sensor_value *temp, const struct sensor_value *humidity,
		    const struct sensor_value *press, const struct sensor_value *gas,
		    struct env_reading *out)
{
	int64_t temp_mc = milli(temp);
	int64_t humidity_mpct = milli(humidity);
	int64_t pressure_pa = milli(press);
	/* Ohms are whole: the driver puts the resistance in val1 and 0 in val2. */
	int64_t gas_ohm = gas->val1;

	if (temp_mc < INT32_MIN || temp_mc > INT32_MAX) {
		return -ERANGE;
	}
	if (humidity_mpct < 0 || humidity_mpct > APP_ENV_HUMIDITY_MPCT_MAX) {
		return -ERANGE;
	}
	if (pressure_pa < 0 || pressure_pa > UINT32_MAX || gas_ohm < 0) {
		return -ERANGE;
	}

	out->temp_mc = (int32_t)temp_mc;
	out->humidity_mpct = (uint32_t)humidity_mpct;
	out->pressure_pa = (uint32_t)pressure_pa;
	out->gas_ohm = (uint32_t)gas_ohm;
	return 0;
}

int env_format(const struct env_reading *r, char *buf, size_t len)
{
	int n = snprintf(buf, len, APP_ENV_FMT, (int)r->temp_mc, (unsigned int)r->humidity_mpct,
			 (unsigned int)r->pressure_pa, (unsigned int)r->gas_ohm);

	if (n < 0 || (size_t)n >= len) {
		if (len > 0) {
			buf[0] = '\0';
		}
		return -ENOSPC;
	}
	return n;
}
```
